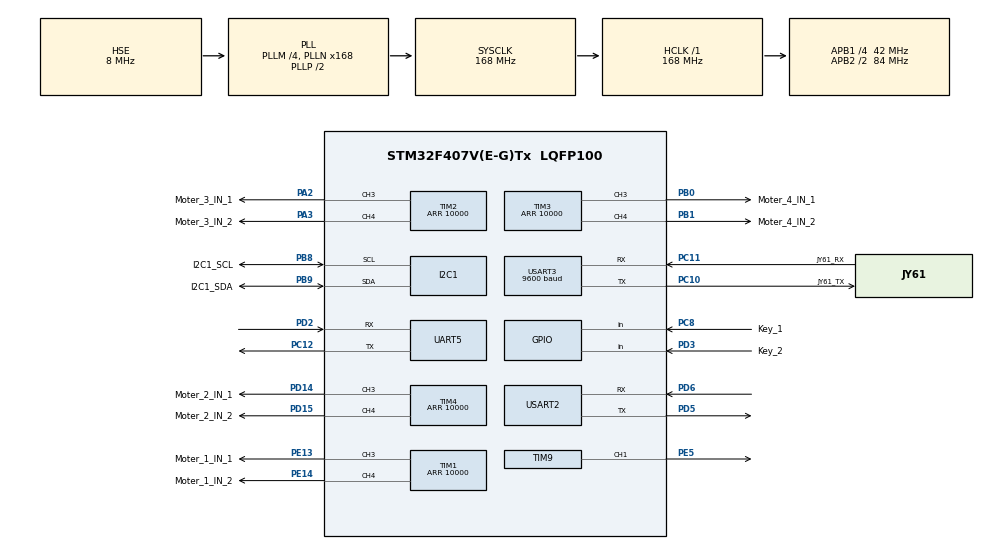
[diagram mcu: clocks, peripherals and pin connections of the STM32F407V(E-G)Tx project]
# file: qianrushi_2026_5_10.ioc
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I2C1.I2C_Mode=I2C_Fast
Mcu.Family=STM32F4
Mcu.Name=STM32F407V(E-G)Tx
Mcu.Package=LQFP100
NVIC.PriorityGroup=NVIC_PRIORITYGROUP_4
NVIC.TIM7_IRQn=true\:0\:0\:false\:false\:true\:true\:true\:true
NVIC.UART5_IRQn=true\:0\:0\:false\:false\:true\:true\:true\:true
NVIC.USART2_IRQn=true\:0\:0\:false\:false\:true\:true\:true\:true
NVIC.USART3_IRQn=true\:0\:0\:false\:false\:true\:true\:true\:true
PA0-WKUP.Mode=SYS_WakeUp0
PA0-WKUP.Signal=SYS_WKUP
PA13.Mode=Serial_Wire
PA13.Signal=SYS_JTMS-SWDIO
PA14.Mode=Serial_Wire
PA14.Signal=SYS_JTCK-SWCLK
PA2.GPIO_Label=Moter_3_IN_1
PA2.Signal=S_TIM2_CH3
PA3.GPIO_Label=Moter_3_IN_2
PA3.Signal=S_TIM2_CH4
PB0.GPIO_Label=Moter_4_IN_1
PB0.Signal=S_TIM3_CH3
PB1.GPIO_Label=Moter_4_IN_2
PB1.Signal=S_TIM3_CH4
PB6.Signal=USART1_TX
PB7.Signal=USART1_RX
PB8.GPIO_Label=I2C1_SCL
PB8.Mode=I2C
PB8.Signal=I2C1_SCL
PB9.GPIO_Label=I2C1_SDA
PB9.Mode=I2C
PB9.Signal=I2C1_SDA
PC10.GPIO_Label=JY61_TX
PC10.Mode=Asynchronous
PC10.Signal=USART3_TX
PC11.GPIO_Label=JY61_RX
PC11.Mode=Asynchronous
PC11.Signal=USART3_RX
PC12.Mode=Asynchronous
PC12.Signal=UART5_TX
PC14-OSC32_IN.Mode=LSE-External-Oscillator
PC14-OSC32_IN.Signal=RCC_OSC32_IN
PC15-OSC32_OUT.Mode=LSE-External-Oscillator
PC15-OSC32_OUT.Signal=RCC_OSC32_OUT
PC8.GPIO_Label=Key_1
PC8.Signal=GPIO_Input
PD14.GPIO_Label=Moter_2_IN_1
PD14.Signal=S_TIM4_CH3
PD15.GPIO_Label=Moter_2_IN_2
PD15.Signal=S_TIM4_CH4
PD2.Mode=Asynchronous
PD2.Signal=UART5_RX
PD3.GPIO_Label=Key_2
PD3.Signal=GPIO_Input
PD5.Mode=Asynchronous
PD5.Signal=USART2_TX
PD6.Mode=Asynchronous
PD6.Signal=USART2_RX
PE13.GPIO_Label=Moter_1_IN_1
PE13.Signal=S_TIM1_CH3
PE14.GPIO_Label=Moter_1_IN_2
PE14.Signal=S_TIM1_CH4
PE5.Signal=S_TIM9_CH1
PH0-OSC_IN.Mode=HSE-External-Oscillator
PH0-OSC_IN.Signal=RCC_OSC_IN
PH1-OSC_OUT.Mode=HSE-External-Oscillator
PH1-OSC_OUT.Signal=RCC_OSC_OUT
ProjectManager.HeapSize=0x200
ProjectManager.StackSize=0x400
ProjectManager.TargetToolchain=MDK-ARM V5.32
RCC.48MHZClocksFreq_Value=84000000
RCC.AHBFreq_Value=168000000
RCC.APB1CLKDivider=RCC_HCLK_DIV4
RCC.APB1Freq_Value=42000000
RCC.APB1TimFreq_Value=84000000
RCC.APB2CLKDivider=RCC_HCLK_DIV2
RCC.APB2Freq_Value=84000000
RCC.APB2TimFreq_Value=168000000
RCC.CortexFreq_Value=168000000
RCC.HCLKFreq_Value=168000000
RCC.HSE_VALUE=8000000
RCC.HSI_VALUE=16000000
RCC.PLLM=4
RCC.PLLN=168
RCC.PLLSourceVirtual=RCC_PLLSOURCE_HSE
RCC.SYSCLKFreq_VALUE=168000000
RCC.SYSCLKSource=RCC_SYSCLKSOURCE_PLLCLK
RCC.VCOOutputFreq_Value=336000000
SH.S_TIM1_CH3.0=TIM1_CH3,PWM Generation3 CH3
SH.S_TIM1_CH4.0=TIM1_CH4,PWM Generation4 CH4
SH.S_TIM2_CH3.0=TIM2_CH3,PWM Generation3 CH3
SH.S_TIM2_CH4.0=TIM2_CH4,PWM Generation4 CH4
SH.S_TIM3_CH3.0=TIM3_CH3,PWM Generation3 CH3
SH.S_TIM3_CH4.0=TIM3_CH4,PWM Generation4 CH4
SH.S_TIM4_CH3.0=TIM4_CH3,PWM Generation3 CH3
SH.S_TIM4_CH4.0=TIM4_CH4,PWM Generation4 CH4
SH.S_TIM9_CH1.0=TIM9_CH1,PWM Generation1 CH1
TIM1.AutoReloadPreload=TIM_AUTORELOAD_PRELOAD_ENABLE
TIM1.Channel-PWM\ Generation3\ CH3=TIM_CHANNEL_3
TIM1.Channel-PWM\ Generation4\ CH4=TIM_CHANNEL_4
TIM1.Period=10000
TIM1.Pulse-PWM\ Generation3\ CH3=0
TIM2.AutoReloadPreload=TIM_AUTORELOAD_PRELOAD_ENABLE
TIM2.Channel-PWM\ Generation3\ CH3=TIM_CHANNEL_3
TIM2.Channel-PWM\ Generation4\ CH4=TIM_CHANNEL_4
TIM2.Period=10000
TIM3.AutoReloadPreload=TIM_AUTORELOAD_PRELOAD_ENABLE
TIM3.Channel-PWM\ Generation3\ CH3=TIM_CHANNEL_3
TIM3.Channel-PWM\ Generation4\ CH4=TIM_CHANNEL_4
TIM3.OCFastMode_PWM-PWM\ Generation3\ CH3=TIM_OCFAST_ENABLE
TIM3.OCFastMode_PWM-PWM\ Generation4\ CH4=TIM_OCFAST_ENABLE
TIM3.Period=10000
TIM4.AutoReloadPreload=TIM_AUTORELOAD_PRELOAD_ENABLE
TIM4.Channel-PWM\ Generation3\ CH3=TIM_CHANNEL_3
TIM4.Channel-PWM\ Generation4\ CH4=TIM_CHANNEL_4
TIM4.Period=10000
TIM7.AutoReloadPreload=TIM_AUTORELOAD_PRELOAD_ENABLE
TIM7.Period=9
TIM7.Prescaler=41999
TIM9.AutoReloadPreload=TIM_AUTORELOAD_PRELOAD_ENABLE
TIM9.Channel-PWM\ Generation1\ CH1=TIM_CHANNEL_1
TIM9.Period=100
UART5.VirtualMode=Asynchronous
USART2.VirtualMode=VM_ASYNC
USART3.BaudRate=9600
USART3.VirtualMode=VM_ASYNC
VP_TIM1_VS_ClockSourceINT.Mode=Internal
VP_TIM2_VS_ClockSourceINT.Mode=Internal
VP_TIM3_VS_ClockSourceINT.Mode=Internal
VP_TIM4_VS_ClockSourceINT.Mode=Internal
VP_TIM7_VS_ClockSourceINT.Mode=Enable_Timer
board=custom

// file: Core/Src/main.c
/* USER CODE BEGIN Header */
/**
  ******************************************************************************
  * @file           : main.c
  * @brief          : Main program body
  ******************************************************************************
  * @attention
  *
  * Copyright (c) 2026 STMicroelectronics.
  * All rights reserved.
  *
  * This software is licensed under terms that can be found in the LICENSE file
  * in the root directory of this software component.
  * If no LICENSE file comes with this software, it is provided AS-IS.
  *
  ******************************************************************************
  */
/* USER CODE END Header */
#include "main.h"
#include "i2c.h"
#include "tim.h"
#include "usart.h"
#include "gpio.h"

/* USER CODE BEGIN Includes */
#include "stm32f4xx_hal.h"
#include <stdlib.h>

/* USER CODE END Includes */

void SystemClock_Config(void);

/* USER CODE BEGIN 0 */

/*   tim7      */
extern int16_t tim_cnt;

/*   uart2     */
extern uint8_t CamData;
uint16_t x_u16 = 0;
uint16_t y_u16 = 0;
extern PID X,Y;
uint16_t x_dir = 0x00;
uint16_t y_dir = 0x00;
/*   uart3     */
extern float Roll,Pitch,Yaw;
extern int uart_3_cnt ;
extern uint8_t RxState;
extern uint8_t Jy901s_RxData;
uint8_t RX_Data[100] = {0};

/* Angel */
extern PID Angel;

/* USER CODE END 0 */

int main(void)
{

  /* MCU Configuration--------------------------------------------------------*/

  /* Reset of all peripherals, Initializes the Flash interface and the Systick. */
  HAL_Init();

  /* Configure the system clock */
  SystemClock_Config();

  /* Initialize all configured peripherals */
  MX_GPIO_Init();
  MX_I2C1_Init();
  MX_UART5_Init();
  MX_USART3_UART_Init();
  MX_TIM1_Init();
  MX_TIM2_Init();
  MX_TIM3_Init();
  MX_TIM4_Init();
  MX_TIM7_Init();
  MX_TIM9_Init();
  MX_USART2_UART_Init();
  /* USER CODE BEGIN 2 */

	//电机PWM唤醒
  HAL_TIM_PWM_Start(&htim1, TIM_CHANNEL_3);
  HAL_TIM_PWM_Start(&htim1, TIM_CHANNEL_4);
  HAL_TIM_PWM_Start(&htim2, TIM_CHANNEL_3);
  HAL_TIM_PWM_Start(&htim2, TIM_CHANNEL_4);
  HAL_TIM_PWM_Start(&htim3, TIM_CHANNEL_3);
  HAL_TIM_PWM_Start(&htim3, TIM_CHANNEL_4);
  HAL_TIM_PWM_Start(&htim4, TIM_CHANNEL_3);
  HAL_TIM_PWM_Start(&htim4, TIM_CHANNEL_4);

	//PWM激光唤�??
	HAL_TIM_PWM_Start(&htim9, TIM_CHANNEL_1);

	//定时器开�??
  HAL_TIM_Base_Start_IT(&htim7);

  OLED_Init();

  uint8_t wake_cmd[1] = {0x55};
  uint8_t send_data_1[8] = {0x01,0xF6,0x01,0x00,0xff,0x00,0x00,0x6B};
  //��ַλ �ٶ�ģʽ���� 0x1->���� 0x4ff->�ٶ� ���ٶ� У��λ�ֽ�
  uint8_t send_data_2[8] = {0x02,0xF6,0x01,0x00,0xFF,0x00,0x00,0x6B};
  //��ַλ �ٶ�ģʽ���� 0x1->���� 0x4ff->�ٶ� ���ٶ� У��λ�ֽ�

  HAL_UART_Transmit(&huart3, wake_cmd, 1, 100);
	HAL_UART_Transmit(&huart2, wake_cmd, 1, 100);
  HAL_UART_Transmit(&huart5, wake_cmd, 1, 100);
  HAL_UART_Receive_IT(&huart3,&Jy901s_RxData,1);
	HAL_UART_Receive_IT(&huart2,&CamData,1);

  /* USER CODE END 2 */

  /* Infinite loop */
  /* USER CODE BEGIN WHILE */

  int Key_1 = 0;
  int Key_2 = 0;

  Angel.target = 0.0;
  PID_Init(&Angel,300,0,0,0,0,9999,-9999);

	X.target = 340;
	Y.target = 320;
	PID_Init(&X,1,0,0,1000,-1000,5000,-5000);				//1
	PID_Init(&Y,0,0,0,1000,-1000,5000,-5000);				//1.5- -01

	__HAL_TIM_SET_COMPARE(&htim9, TIM_CHANNEL_1, 0);

  while (1)
  {
    /* USER CODE END WHILE */

    /* USER CODE BEGIN 3 */
    if(HAL_GPIO_ReadPin(Key_1_GPIO_Port,Key_1_Pin) == 0){
      while(HAL_GPIO_ReadPin(Key_1_GPIO_Port,Key_1_Pin) == 0);
      Key_1++;
    }
    if(HAL_GPIO_ReadPin(Key_2_GPIO_Port,Key_2_Pin) == 0){
      while(HAL_GPIO_ReadPin(Key_2_GPIO_Port,Key_2_Pin) == 0);
      Key_2++;
    }

//		if (X.OUT > 0) x_dir = 0x01; else x_dir = 0x00;
//		if (Y.OUT > 0) y_dir = 0x01; else y_dir = 0x00;
//
//		Emm_V5_Pos_Control(0x01, x_dir, 30, 0, abs(X.OUT), 0, 0);
//		HAL_Delay(1);
//		Emm_V5_Pos_Control(0x02, y_dir, 30, 0, abs(Y.OUT), 0, 0);
//		HAL_Delay(1);

//		Emm_V5_Vel_Control(0x01,0x01,32,0,0); //X		�ٶ�  + ����  - ����左-1，右-0
//		HAL_Delay(1);
//		Emm_V5_Vel_Control(0x02,0x01,32,0,0); //Y   �ٶ�  + ����  - ����上-1，下-0
    //Set_4_Speed(-6000,-6000,-6000,-6000);
//		__HAL_TIM_SET_COMPARE(&htim9, TIM_CHANNEL_1, 60);

//		Set_4_Speed(-6000,-6000,-6000,-6000);

				if(tim_cnt <= 1000)		//左转
				{
					Emm_V5_Vel_Control(0x01,0x01,300,0,0);
					Set_4_Speed(-6000-Angel.OUT,-6000+Angel.OUT,-6000+Angel.OUT,-6000-Angel.OUT);
				}
				else if(tim_cnt > 1000 && tim_cnt <= 2700) //右转
				{
					Emm_V5_Vel_Control(0x01,0x00,300,0,0);
				}
				else if(tim_cnt > 2700 && tim_cnt <= 3900)	//停止 向下
				{
					Set_4_Speed(0,0,0,0);
					Emm_V5_Vel_Control(0x01,0x00,0,0,0);
					HAL_Delay(1);
					Set_4_Speed(0, 0, 0, 0);
					Emm_V5_Vel_Control(0x02,0x00,40,0,0);
				}
				else if(tim_cnt > 3900 && tim_cnt <= 4100)	//激光 停转
				{
						__HAL_TIM_SET_COMPARE(&htim9, TIM_CHANNEL_1, 100);
					Emm_V5_Vel_Control(0x02,0x01,0,0,0);
				}
				else if(tim_cnt > 4100 && tim_cnt <= 5300){	//关激光 左转 上转
					__HAL_TIM_SET_COMPARE(&htim9, TIM_CHANNEL_1, 0);
					Emm_V5_Vel_Control(0x01,0x01,300,0,0);
					HAL_Delay(1);
					Emm_V5_Vel_Control(0x02,0x01,40,0,0);
					Set_4_Speed(-6000-Angel.OUT,-6000+Angel.OUT,-6000+Angel.OUT,-6000-Angel.OUT);
				}
				else if(tim_cnt > 5300 && tim_cnt <= 6000){	//停止上转
					Emm_V5_Vel_Control(0x02,0x01,0,0,0);
				}
				else if(tim_cnt > 6000 && tim_cnt <= 7200){	//停止左转 向下转 停车
					Emm_V5_Vel_Control(0x01,0x01,0,0,0);
					HAL_Delay(1);
					Emm_V5_Vel_Control(0x02,0x00,50,0,0);
					Set_4_Speed(0, 0, 0, 0);
				}
				else if(tim_cnt > 7200 && tim_cnt <= 7400){
					__HAL_TIM_SET_COMPARE(&htim9, TIM_CHANNEL_1, 100);
					Emm_V5_Vel_Control(0x02,0x00,0,0,0);
				}
				else if(tim_cnt > 7400 && tim_cnt <= 8600){
					__HAL_TIM_SET_COMPARE(&htim9, TIM_CHANNEL_1, 0);
					Emm_V5_Vel_Control(0x02,0x01,40,0,0);
					HAL_Delay(1);
					Emm_V5_Vel_Control(0x01,0x00,300,0,0);
				}
				else {
					Emm_V5_Vel_Control(0x02,0x01,0,0,0);
					HAL_Delay(1);
					Emm_V5_Vel_Control(0x01,0x00,100,0,0);
					Set_4_Speed(-6000-Angel.OUT,-6000+Angel.OUT,-6000+Angel.OUT,-6000-Angel.OUT);
				}

    OLED_ShowFloatNum(0,0,Yaw,3,2,OLED_6X8);
    OLED_ShowFloatNum(0,8*1,Roll,3,2,OLED_6X8);
    OLED_ShowFloatNum(0,8*2,Pitch,3,2,OLED_6X8);
    OLED_ShowNum(0,8*3,tim_cnt,5,OLED_6X8);
    OLED_ShowSignedNum(0,8*4,Angel.OUT,6,OLED_6X8);
    OLED_Update();
  }
  /* USER CODE END 3 */
}

void SystemClock_Config(void)
{
  RCC_OscInitTypeDef RCC_OscInitStruct = {0};
  RCC_ClkInitTypeDef RCC_ClkInitStruct = {0};

  /** Configure the main internal regulator output voltage
  */
  __HAL_RCC_PWR_CLK_ENABLE();
  __HAL_PWR_VOLTAGESCALING_CONFIG(PWR_REGULATOR_VOLTAGE_SCALE1);

  /** Initializes the RCC Oscillators according to the specified parameters
  * in the RCC_OscInitTypeDef structure.
  */
  RCC_OscInitStruct.OscillatorType = RCC_OSCILLATORTYPE_HSE;
  RCC_OscInitStruct.HSEState = RCC_HSE_ON;
  RCC_OscInitStruct.PLL.PLLState = RCC_PLL_ON;
  RCC_OscInitStruct.PLL.PLLSource = RCC_PLLSOURCE_HSE;
  RCC_OscInitStruct.PLL.PLLM = 4;
  RCC_OscInitStruct.PLL.PLLN = 168;
  RCC_OscInitStruct.PLL.PLLP = RCC_PLLP_DIV2;
  RCC_OscInitStruct.PLL.PLLQ = 4;
  if (HAL_RCC_OscConfig(&RCC_OscInitStruct) != HAL_OK)
  {
    Error_Handler();
  }

  /** Initializes the CPU, AHB and APB buses clocks
  */
  RCC_ClkInitStruct.ClockType = RCC_CLOCKTYPE_HCLK|RCC_CLOCKTYPE_SYSCLK
                              |RCC_CLOCKTYPE_PCLK1|RCC_CLOCKTYPE_PCLK2;
  RCC_ClkInitStruct.SYSCLKSource = RCC_SYSCLKSOURCE_PLLCLK;
  RCC_ClkInitStruct.AHBCLKDivider = RCC_SYSCLK_DIV1;
  RCC_ClkInitStruct.APB1CLKDivider = RCC_HCLK_DIV4;
  RCC_ClkInitStruct.APB2CLKDivider = RCC_HCLK_DIV2;

  if (HAL_RCC_ClockConfig(&RCC_ClkInitStruct, FLASH_LATENCY_5) != HAL_OK)
  {
    Error_Handler();
  }
}

void Error_Handler(void)
{
  __disable_irq();
  while (1)
  {
  }
}
